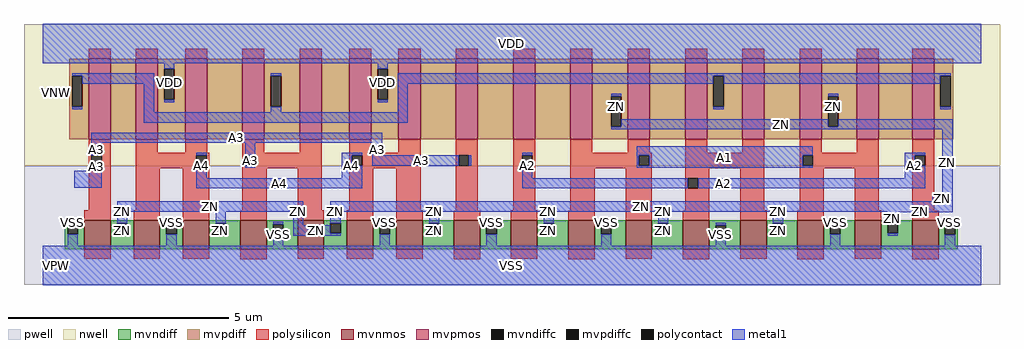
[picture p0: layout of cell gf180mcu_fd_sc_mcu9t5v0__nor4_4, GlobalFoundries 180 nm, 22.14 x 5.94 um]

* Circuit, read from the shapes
.subckt gf180mcu_fd_sc_mcu9t5v0__nor4_4 A1 A2 A3 A4 ZN VDD VNW VPW VSS
XM1 ZN A3 VSS VPW nfet_06v0 w=0.66u l=0.6u m=4
XM2 VSS A4 ZN VPW nfet_06v0 w=0.66u l=0.6u m=4
XM3 ZN A2 VSS VPW nfet_06v0 w=0.66u l=0.6u m=4
XM4 VSS A1 ZN VPW nfet_06v0 w=0.66u l=0.6u m=4
XM5 n1 A3 n2 VNW pfet_06v0 w=1.83u l=0.5u
XM6 VDD A4 n1 VNW pfet_06v0 w=1.83u l=0.5u
XM7 n3 A4 VDD VNW pfet_06v0 w=1.83u l=0.5u
XM8 n2 A3 n3 VNW pfet_06v0 w=1.83u l=0.5u
XM9 n4 A3 n2 VNW pfet_06v0 w=1.83u l=0.5u
XM10 VDD A4 n4 VNW pfet_06v0 w=1.83u l=0.5u
XM11 n5 A4 VDD VNW pfet_06v0 w=1.83u l=0.5u
XM12 n6 A3 n5 VNW pfet_06v0 w=1.83u l=0.5u
XM13 n7 A2 n6 VNW pfet_06v0 w=1.83u l=0.5u
XM14 ZN A1 n7 VNW pfet_06v0 w=1.83u l=0.5u
XM15 n8 A1 ZN VNW pfet_06v0 w=1.83u l=0.5u
XM16 n2 A2 n8 VNW pfet_06v0 w=1.83u l=0.5u
XM17 n9 A2 n2 VNW pfet_06v0 w=1.83u l=0.5u
XM18 ZN A1 n9 VNW pfet_06v0 w=1.83u l=0.5u
XM19 n10 A1 ZN VNW pfet_06v0 w=1.83u l=0.5u
XM20 n2 A2 n10 VNW pfet_06v0 w=1.83u l=0.5u
.ends

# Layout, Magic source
magic
tech gf180mcuD
magscale 1 10
<< nwell >>
rect -86 453 4342 1094
<< pwell >>
rect -86 -86 4342 453
<< mvnmos >>
rect 187 74 307 206
rect 411 74 531 206
rect 635 74 755 206
rect 895 73 1015 205
rect 1155 74 1275 206
rect 1379 74 1499 206
rect 1603 74 1723 206
rect 1863 73 1983 205
rect 2123 74 2243 206
rect 2383 73 2503 205
rect 2643 74 2763 206
rect 2903 73 3023 205
rect 3163 74 3283 206
rect 3423 73 3543 205
rect 3683 74 3803 206
rect 3943 73 4063 205
<< mvpmos >>
rect 207 573 307 939
rect 421 573 521 939
rect 645 573 745 939
rect 905 573 1005 939
rect 1165 573 1265 939
rect 1389 573 1489 939
rect 1613 573 1713 939
rect 1873 573 1973 939
rect 2133 573 2233 939
rect 2393 573 2493 939
rect 2653 573 2753 939
rect 2913 573 3013 939
rect 3173 573 3273 939
rect 3433 573 3533 939
rect 3693 573 3793 939
rect 3943 573 4043 939
<< mvndiff >>
rect 99 188 187 206
rect 99 142 112 188
rect 158 142 187 188
rect 99 74 187 142
rect 307 193 411 206
rect 307 147 336 193
rect 382 147 411 193
rect 307 74 411 147
rect 531 188 635 206
rect 531 142 560 188
rect 606 142 635 188
rect 531 74 635 142
rect 755 205 835 206
rect 1075 205 1155 206
rect 755 193 895 205
rect 755 147 784 193
rect 830 147 895 193
rect 755 74 895 147
rect 815 73 895 74
rect 1015 188 1155 205
rect 1015 142 1044 188
rect 1090 142 1155 188
rect 1015 74 1155 142
rect 1275 193 1379 206
rect 1275 147 1304 193
rect 1350 147 1379 193
rect 1275 74 1379 147
rect 1499 188 1603 206
rect 1499 142 1528 188
rect 1574 142 1603 188
rect 1499 74 1603 142
rect 1723 205 1803 206
rect 2043 205 2123 206
rect 1723 193 1863 205
rect 1723 147 1752 193
rect 1798 147 1863 193
rect 1723 74 1863 147
rect 1015 73 1095 74
rect 1783 73 1863 74
rect 1983 188 2123 205
rect 1983 142 2012 188
rect 2058 142 2123 188
rect 1983 74 2123 142
rect 2243 205 2323 206
rect 2563 205 2643 206
rect 2243 193 2383 205
rect 2243 147 2272 193
rect 2318 147 2383 193
rect 2243 74 2383 147
rect 1983 73 2063 74
rect 2303 73 2383 74
rect 2503 188 2643 205
rect 2503 142 2532 188
rect 2578 142 2643 188
rect 2503 74 2643 142
rect 2763 205 2843 206
rect 3083 205 3163 206
rect 2763 193 2903 205
rect 2763 147 2792 193
rect 2838 147 2903 193
rect 2763 74 2903 147
rect 2503 73 2583 74
rect 2823 73 2903 74
rect 3023 183 3163 205
rect 3023 137 3052 183
rect 3098 137 3163 183
rect 3023 74 3163 137
rect 3283 205 3363 206
rect 3603 205 3683 206
rect 3283 193 3423 205
rect 3283 147 3312 193
rect 3358 147 3423 193
rect 3283 74 3423 147
rect 3023 73 3103 74
rect 3343 73 3423 74
rect 3543 188 3683 205
rect 3543 142 3572 188
rect 3618 142 3683 188
rect 3543 74 3683 142
rect 3803 205 3883 206
rect 3803 193 3943 205
rect 3803 147 3832 193
rect 3878 147 3943 193
rect 3803 74 3943 147
rect 3543 73 3623 74
rect 3863 73 3943 74
rect 4063 185 4151 205
rect 4063 139 4092 185
rect 4138 139 4151 185
rect 4063 73 4151 139
<< mvpdiff >>
rect 119 861 207 939
rect 119 721 132 861
rect 178 721 207 861
rect 119 573 207 721
rect 307 573 421 939
rect 521 892 645 939
rect 521 752 550 892
rect 596 752 645 892
rect 521 573 645 752
rect 745 573 905 939
rect 1005 861 1165 939
rect 1005 721 1034 861
rect 1080 721 1165 861
rect 1005 573 1165 721
rect 1265 573 1389 939
rect 1489 892 1613 939
rect 1489 752 1518 892
rect 1564 752 1613 892
rect 1489 573 1613 752
rect 1713 573 1873 939
rect 1973 573 2133 939
rect 2233 573 2393 939
rect 2493 769 2653 939
rect 2493 629 2578 769
rect 2624 629 2653 769
rect 2493 573 2653 629
rect 2753 573 2913 939
rect 3013 861 3173 939
rect 3013 721 3042 861
rect 3088 721 3173 861
rect 3013 573 3173 721
rect 3273 573 3433 939
rect 3533 769 3693 939
rect 3533 629 3562 769
rect 3608 629 3693 769
rect 3533 573 3693 629
rect 3793 573 3943 939
rect 4043 861 4131 939
rect 4043 721 4072 861
rect 4118 721 4131 861
rect 4043 573 4131 721
<< mvndiffc >>
rect 112 142 158 188
rect 336 147 382 193
rect 560 142 606 188
rect 784 147 830 193
rect 1044 142 1090 188
rect 1304 147 1350 193
rect 1528 142 1574 188
rect 1752 147 1798 193
rect 2012 142 2058 188
rect 2272 147 2318 193
rect 2532 142 2578 188
rect 2792 147 2838 193
rect 3052 137 3098 183
rect 3312 147 3358 193
rect 3572 142 3618 188
rect 3832 147 3878 193
rect 4092 139 4138 185
<< mvpdiffc >>
rect 132 721 178 861
rect 550 752 596 892
rect 1034 721 1080 861
rect 1518 752 1564 892
rect 2578 629 2624 769
rect 3042 721 3088 861
rect 3562 629 3608 769
rect 4072 721 4118 861
<< polysilicon >>
rect 207 939 307 983
rect 421 939 521 983
rect 645 939 745 983
rect 905 939 1005 983
rect 1165 939 1265 983
rect 1389 939 1489 983
rect 1613 939 1713 983
rect 1873 939 1973 983
rect 2133 939 2233 983
rect 2393 939 2493 983
rect 2653 939 2753 983
rect 2913 939 3013 983
rect 3173 939 3273 983
rect 3433 939 3533 983
rect 3693 939 3793 983
rect 3943 939 4043 983
rect 207 500 307 573
rect 207 454 220 500
rect 266 454 307 500
rect 207 250 307 454
rect 421 513 521 573
rect 645 513 745 573
rect 905 513 1005 573
rect 1165 513 1265 573
rect 421 500 755 513
rect 421 454 696 500
rect 742 454 755 500
rect 421 441 755 454
rect 421 250 531 441
rect 187 206 307 250
rect 411 206 531 250
rect 635 206 755 441
rect 905 500 1265 513
rect 905 454 918 500
rect 964 454 1265 500
rect 905 441 1265 454
rect 905 249 1015 441
rect 895 205 1015 249
rect 1155 250 1265 441
rect 1389 513 1489 573
rect 1613 513 1713 573
rect 1389 500 1713 513
rect 1389 454 1402 500
rect 1448 454 1713 500
rect 1389 441 1713 454
rect 1389 250 1499 441
rect 1155 206 1275 250
rect 1379 206 1499 250
rect 1603 250 1713 441
rect 1873 500 1973 573
rect 1873 454 1886 500
rect 1932 454 1973 500
rect 1603 206 1723 250
rect 1873 249 1973 454
rect 2133 500 2233 573
rect 2133 454 2174 500
rect 2220 454 2233 500
rect 2133 250 2233 454
rect 2393 513 2493 573
rect 2653 513 2753 573
rect 2913 513 3013 573
rect 3173 513 3273 573
rect 2393 500 2763 513
rect 2393 454 2704 500
rect 2750 454 2763 500
rect 2393 441 2763 454
rect 187 30 307 74
rect 411 30 531 74
rect 635 30 755 74
rect 1863 205 1983 249
rect 2123 206 2243 250
rect 2393 249 2503 441
rect 895 29 1015 73
rect 1155 30 1275 74
rect 1379 30 1499 74
rect 1603 30 1723 74
rect 2383 205 2503 249
rect 2643 206 2763 441
rect 2913 441 3273 513
rect 2913 397 3023 441
rect 2913 351 2926 397
rect 2972 351 3023 397
rect 2913 249 3023 351
rect 1863 29 1983 73
rect 2123 30 2243 74
rect 2903 205 3023 249
rect 3163 250 3273 441
rect 3433 513 3533 573
rect 3693 513 3793 573
rect 3433 500 3793 513
rect 3433 454 3446 500
rect 3492 454 3793 500
rect 3433 441 3793 454
rect 3163 206 3283 250
rect 3433 249 3543 441
rect 2383 29 2503 73
rect 2643 30 2763 74
rect 3423 205 3543 249
rect 3683 250 3793 441
rect 3943 500 4043 573
rect 3943 454 3956 500
rect 4002 454 4043 500
rect 3683 206 3803 250
rect 3943 249 4043 454
rect 2903 29 3023 73
rect 3163 30 3283 74
rect 3943 205 4063 249
rect 3423 29 3543 73
rect 3683 30 3803 74
rect 3943 29 4063 73
<< polycontact >>
rect 220 454 266 500
rect 696 454 742 500
rect 918 454 964 500
rect 1402 454 1448 500
rect 1886 454 1932 500
rect 2174 454 2220 500
rect 2704 454 2750 500
rect 2926 351 2972 397
rect 3446 454 3492 500
rect 3956 454 4002 500
<< metal1 >>
rect 0 918 4256 1098
rect 550 892 596 918
rect 132 861 504 872
rect 178 826 504 861
rect 132 710 178 721
rect 458 695 504 826
rect 1518 892 1564 918
rect 550 741 596 752
rect 1034 861 1080 872
rect 1518 741 1564 752
rect 1610 861 4118 872
rect 1610 826 3042 861
rect 1034 695 1080 721
rect 1610 695 1656 826
rect 458 649 1656 695
rect 2578 769 2624 780
rect 3088 826 4072 861
rect 3042 710 3088 721
rect 3562 769 3608 780
rect 2624 629 3562 664
rect 4072 710 4118 721
rect 3608 629 4127 664
rect 2578 618 4127 629
rect 220 557 1540 603
rect 220 500 266 557
rect 220 430 266 454
rect 142 354 266 430
rect 696 500 742 511
rect 696 397 742 454
rect 918 500 964 557
rect 918 443 964 454
rect 1356 500 1448 511
rect 1356 454 1402 500
rect 1494 500 1540 557
rect 2174 500 2220 511
rect 1494 454 1886 500
rect 1932 454 1943 500
rect 1356 397 1448 454
rect 696 351 1448 397
rect 2174 397 2220 454
rect 2693 500 3492 542
rect 2693 454 2704 500
rect 2750 454 3446 500
rect 2693 443 3492 454
rect 3910 500 4002 511
rect 3910 454 3956 500
rect 3910 397 4002 454
rect 2174 351 2926 397
rect 2972 351 4002 397
rect 4081 318 4127 618
rect 4035 291 4127 318
rect 336 245 1182 291
rect 112 188 158 199
rect 112 90 158 142
rect 336 193 382 245
rect 336 136 382 147
rect 560 188 606 199
rect 560 90 606 142
rect 784 193 830 245
rect 784 136 830 147
rect 1044 188 1090 199
rect 1044 90 1090 142
rect 1136 182 1182 245
rect 1304 245 4127 291
rect 1304 193 1350 245
rect 1136 147 1304 182
rect 1136 136 1350 147
rect 1528 188 1574 199
rect 1528 90 1574 142
rect 1752 193 1798 245
rect 1752 136 1798 147
rect 2012 188 2058 199
rect 2012 90 2058 142
rect 2272 193 2318 245
rect 2272 136 2318 147
rect 2532 188 2578 199
rect 2532 90 2578 142
rect 2792 193 2838 245
rect 2792 136 2838 147
rect 3052 183 3098 194
rect 3052 90 3098 137
rect 3312 193 3358 245
rect 3832 242 4127 245
rect 3312 136 3358 147
rect 3572 188 3618 199
rect 3572 90 3618 142
rect 3832 193 3878 242
rect 3832 136 3878 147
rect 4092 185 4138 196
rect 4092 90 4138 139
rect 0 -90 4256 90
<< labels >>
flabel metal1 s 2693 443 3492 542 0 FreeSans 200 0 0 0 A1
port 1 nsew default input
flabel metal1 s 3910 397 4002 511 0 FreeSans 200 0 0 0 A2
port 2 nsew default input
flabel metal1 s 220 557 1540 603 0 FreeSans 200 0 0 0 A3
port 3 nsew default input
flabel metal1 s 1356 397 1448 511 0 FreeSans 200 0 0 0 A4
port 4 nsew default input
flabel metal1 s 0 918 4256 1098 0 FreeSans 200 0 0 0 VDD
port 6 nsew power bidirectional abutment
flabel metal1 s 3572 196 3618 199 0 FreeSans 200 0 0 0 VSS
port 9 nsew ground bidirectional abutment
flabel metal1 s 3562 664 3608 780 0 FreeSans 200 0 0 0 ZN
port 5 nsew default output
flabel nwell s 10 734 110 834 0 FreeSans 400 0 0 0 VNW
port 7 nsew power bidirectional
flabel pwell s 10 -50 110 50 0 FreeSans 400 0 0 0 VPW
port 8 nsew ground bidirectional
rlabel metal1 s 2174 397 2220 511 1 A2
port 2 nsew default input
rlabel metal1 s 2174 351 4002 397 1 A2
port 2 nsew default input
rlabel metal1 s 1494 500 1540 557 1 A3
port 3 nsew default input
rlabel metal1 s 918 500 964 557 1 A3
port 3 nsew default input
rlabel metal1 s 220 500 266 557 1 A3
port 3 nsew default input
rlabel metal1 s 1494 454 1943 500 1 A3
port 3 nsew default input
rlabel metal1 s 918 454 964 500 1 A3
port 3 nsew default input
rlabel metal1 s 220 454 266 500 1 A3
port 3 nsew default input
rlabel metal1 s 918 443 964 454 1 A3
port 3 nsew default input
rlabel metal1 s 220 443 266 454 1 A3
port 3 nsew default input
rlabel metal1 s 220 430 266 443 1 A3
port 3 nsew default input
rlabel metal1 s 142 354 266 430 1 A3
port 3 nsew default input
rlabel metal1 s 696 397 742 511 1 A4
port 4 nsew default input
rlabel metal1 s 696 351 1448 397 1 A4
port 4 nsew default input
rlabel metal1 s 2578 664 2624 780 1 ZN
port 5 nsew default output
rlabel metal1 s 2578 618 4127 664 1 ZN
port 5 nsew default output
rlabel metal1 s 4081 318 4127 618 1 ZN
port 5 nsew default output
rlabel metal1 s 4035 291 4127 318 1 ZN
port 5 nsew default output
rlabel metal1 s 1304 245 4127 291 1 ZN
port 5 nsew default output
rlabel metal1 s 336 245 1182 291 1 ZN
port 5 nsew default output
rlabel metal1 s 3832 242 4127 245 1 ZN
port 5 nsew default output
rlabel metal1 s 3312 242 3358 245 1 ZN
port 5 nsew default output
rlabel metal1 s 2792 242 2838 245 1 ZN
port 5 nsew default output
rlabel metal1 s 2272 242 2318 245 1 ZN
port 5 nsew default output
rlabel metal1 s 1752 242 1798 245 1 ZN
port 5 nsew default output
rlabel metal1 s 1304 242 1350 245 1 ZN
port 5 nsew default output
rlabel metal1 s 1136 242 1182 245 1 ZN
port 5 nsew default output
rlabel metal1 s 784 242 830 245 1 ZN
port 5 nsew default output
rlabel metal1 s 336 242 382 245 1 ZN
port 5 nsew default output
rlabel metal1 s 3832 182 3878 242 1 ZN
port 5 nsew default output
rlabel metal1 s 3312 182 3358 242 1 ZN
port 5 nsew default output
rlabel metal1 s 2792 182 2838 242 1 ZN
port 5 nsew default output
rlabel metal1 s 2272 182 2318 242 1 ZN
port 5 nsew default output
rlabel metal1 s 1752 182 1798 242 1 ZN
port 5 nsew default output
rlabel metal1 s 1304 182 1350 242 1 ZN
port 5 nsew default output
rlabel metal1 s 1136 182 1182 242 1 ZN
port 5 nsew default output
rlabel metal1 s 784 182 830 242 1 ZN
port 5 nsew default output
rlabel metal1 s 336 182 382 242 1 ZN
port 5 nsew default output
rlabel metal1 s 3832 136 3878 182 1 ZN
port 5 nsew default output
rlabel metal1 s 3312 136 3358 182 1 ZN
port 5 nsew default output
rlabel metal1 s 2792 136 2838 182 1 ZN
port 5 nsew default output
rlabel metal1 s 2272 136 2318 182 1 ZN
port 5 nsew default output
rlabel metal1 s 1752 136 1798 182 1 ZN
port 5 nsew default output
rlabel metal1 s 1136 136 1350 182 1 ZN
port 5 nsew default output
rlabel metal1 s 784 136 830 182 1 ZN
port 5 nsew default output
rlabel metal1 s 336 136 382 182 1 ZN
port 5 nsew default output
rlabel metal1 s 1518 741 1564 918 1 VDD
port 6 nsew power bidirectional abutment
rlabel metal1 s 550 741 596 918 1 VDD
port 6 nsew power bidirectional abutment
rlabel metal1 s 2532 196 2578 199 1 VSS
port 9 nsew ground bidirectional abutment
rlabel metal1 s 2012 196 2058 199 1 VSS
port 9 nsew ground bidirectional abutment
rlabel metal1 s 1528 196 1574 199 1 VSS
port 9 nsew ground bidirectional abutment
rlabel metal1 s 1044 196 1090 199 1 VSS
port 9 nsew ground bidirectional abutment
rlabel metal1 s 560 196 606 199 1 VSS
port 9 nsew ground bidirectional abutment
rlabel metal1 s 112 196 158 199 1 VSS
port 9 nsew ground bidirectional abutment
rlabel metal1 s 4092 194 4138 196 1 VSS
port 9 nsew ground bidirectional abutment
rlabel metal1 s 3572 194 3618 196 1 VSS
port 9 nsew ground bidirectional abutment
rlabel metal1 s 2532 194 2578 196 1 VSS
port 9 nsew ground bidirectional abutment
rlabel metal1 s 2012 194 2058 196 1 VSS
port 9 nsew ground bidirectional abutment
rlabel metal1 s 1528 194 1574 196 1 VSS
port 9 nsew ground bidirectional abutment
rlabel metal1 s 1044 194 1090 196 1 VSS
port 9 nsew ground bidirectional abutment
rlabel metal1 s 560 194 606 196 1 VSS
port 9 nsew ground bidirectional abutment
rlabel metal1 s 112 194 158 196 1 VSS
port 9 nsew ground bidirectional abutment
rlabel metal1 s 4092 90 4138 194 1 VSS
port 9 nsew ground bidirectional abutment
rlabel metal1 s 3572 90 3618 194 1 VSS
port 9 nsew ground bidirectional abutment
rlabel metal1 s 3052 90 3098 194 1 VSS
port 9 nsew ground bidirectional abutment
rlabel metal1 s 2532 90 2578 194 1 VSS
port 9 nsew ground bidirectional abutment
rlabel metal1 s 2012 90 2058 194 1 VSS
port 9 nsew ground bidirectional abutment
rlabel metal1 s 1528 90 1574 194 1 VSS
port 9 nsew ground bidirectional abutment
rlabel metal1 s 1044 90 1090 194 1 VSS
port 9 nsew ground bidirectional abutment
rlabel metal1 s 560 90 606 194 1 VSS
port 9 nsew ground bidirectional abutment
rlabel metal1 s 112 90 158 194 1 VSS
port 9 nsew ground bidirectional abutment
rlabel metal1 s 0 -90 4256 90 1 VSS
port 9 nsew ground bidirectional abutment
<< properties >>
string FIXED_BBOX 0 0 4256 1008
string GDS_END 114028
string GDS_FILE $PDKPATH/libs.ref/gf180mcu_fd_sc_mcu9t5v0/gds/gf180mcu_fd_sc_mcu9t5v0.gds
string GDS_START 106588
string LEFclass core
string LEFsite GF018hv5v_green_sc9
string LEFsymmetry X Y
<< end >>
